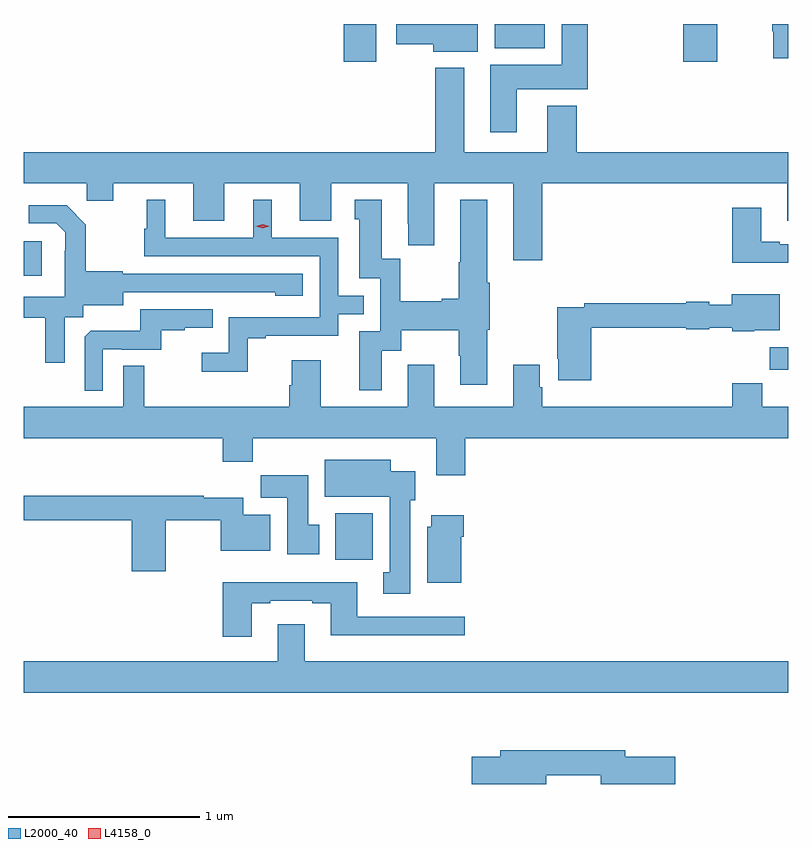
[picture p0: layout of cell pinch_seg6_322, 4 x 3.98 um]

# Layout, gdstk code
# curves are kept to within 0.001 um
import gdstk
lib = gdstk.Library(unit=1e-6, precision=1e-09)
def R(c, l, rs):  # rectangles x0, y0, x1, y1
    for r in rs: c.add(gdstk.rectangle(r[:2], r[2:], *l))
def P(c, l, *ps):  # polygons
    for p in ps: c.add(gdstk.Polygon(p, *l))
L2000_40 = (2000, 40)
L4158_0 = (4158, 0)

pinch_seg6_322 = lib.new_cell('pinch_seg6_322')
R(pinch_seg6_322, L2000_40, [(757.361,994.652,757.558,994.894), (759.634,995.646,759.731,995.764), (755.731,996.138,755.827,996.318), (757.406,997.257,757.576,997.454), (759.182,997.257,759.36,997.454), (758.195,997.328,758.458,997.454)])
P(pinch_seg6_322, L2000_40, [(758.107,997.454),(757.68,997.454),(757.68,997.349),(757.874,997.349),(757.874,997.31),(758.107,997.31)],
  [(759.731,997.454),(759.646,997.454),(759.646,997.416),(759.653,997.416),(759.653,997.274),(759.731,997.274)],
  [(758.311,997.112),(758.681,997.112),(758.681,997.454),(758.546,997.454),(758.546,997.24),(758.171,997.24),(758.171,996.888),(758.311,996.888)],
  [(755.731,996.62),(756.061,996.62),(756.061,996.53),(756.199,996.53),(756.199,996.62),(756.617,996.62),(756.617,996.426),(756.781,996.426),(756.781,996.62),(757.175,996.62),(757.175,996.426),(757.339,996.426),(757.339,996.62),(757.739,996.62),(757.739,996.409),(757.742,996.409),(757.742,996.297),(757.879,996.297),(757.879,996.62),(758.291,996.62),(758.291,996.219),(758.444,996.219),(758.444,996.62),(759.725,996.62),(759.725,996.426),(759.731,996.426),(759.731,996.784),(758.624,996.784),(758.624,997.027),(758.471,997.027),(758.471,996.784),(758.035,996.784),(758.035,997.225),(757.883,997.225),(757.883,996.784),(755.731,996.784)],
  [(757.603,995.746),(757.705,995.746),(757.705,995.852),(758.008,995.852),(758.008,995.718),(758.015,995.718),(758.015,995.568),(758.155,995.568),(758.155,995.856),(758.168,995.856),(758.168,996.1),(758.155,996.1),(758.155,996.535),(758.015,996.535),(758.015,996.209),(758.008,996.209),(758.008,996.017),(757.919,996.017),(757.919,996.004),(757.701,996.004),(757.701,996.227),(757.603,996.227),(757.603,996.535),(757.463,996.535),(757.463,996.432),(757.487,996.432),(757.487,996.123),(757.596,996.123),(757.596,995.847),(757.487,995.847),(757.487,995.538),(757.603,995.538)],
  [(756.903,995.811),(756.997,995.811),(756.997,995.823),(757.377,995.823),(757.377,995.937),(757.511,995.937),(757.511,996.033),(757.377,996.033),(757.377,996.336),(757.03,996.336),(757.03,996.535),(756.932,996.535),(756.932,996.336),(756.472,996.336),(756.472,996.535),(756.374,996.535),(756.374,996.384),(756.363,996.384),(756.363,996.24),(757.281,996.24),(757.281,995.919),(756.804,995.919),(756.804,995.734),(756.663,995.734),(756.663,995.636),(756.903,995.636)],
  [(755.947,995.92),(756.042,995.92),(756.042,995.984),(756.253,995.984),(756.253,996.051),(757.047,996.05),(757.047,996.032),(757.192,996.032),(757.192,996.147),(756.249,996.147),(756.249,996.16),(756.057,996.16),(756.057,996.405),(755.957,996.505),(755.757,996.505),(755.757,996.411),(755.901,996.411),(755.948,996.364),(755.948,996.269),(755.946,996.269),(755.946,996.028),(755.731,996.028),(755.731,995.918),(755.843,995.918),(755.843,995.682),(755.947,995.682)],
  [(759.731,996.303),(759.685,996.303),(759.685,996.316),(759.589,996.316),(759.589,996.493),(759.437,996.493),(759.437,996.206),(759.731,996.206)],
  [(758.699,995.865),(759.198,995.865),(759.198,995.857),(759.318,995.857),(759.318,995.864),(759.438,995.864),(759.438,995.846),(759.552,995.846),(759.552,995.852),(759.685,995.852),(759.685,996.04),(759.434,996.04),(759.434,995.986),(759.318,995.986),(759.318,996.001),(759.198,996.001),(759.198,995.993),(758.662,995.993),(758.662,995.973),(758.521,995.973),(758.521,995.704),(758.528,995.704),(758.528,995.592),(758.699,995.592)],
  [(756.144,995.754),(756.244,995.754),(756.244,995.751),(756.452,995.751),(756.452,995.853),(756.575,995.853),(756.575,995.864),(756.719,995.864),(756.719,995.961),(756.342,995.961),(756.342,995.849),(756.083,995.849),(756.051,995.817),(756.051,995.537),(756.144,995.537)],
  [(758.042,995.288),(759.731,995.288),(759.731,995.452),(759.593,995.452),(759.593,995.576),(759.437,995.576),(759.437,995.452),(758.444,995.452),(758.444,995.553),(758.431,995.553),(758.431,995.671),(758.291,995.671),(758.291,995.452),(757.879,995.452),(757.879,995.671),(757.739,995.671),(757.739,995.452),(757.285,995.452),(757.285,995.695),(757.133,995.695),(757.133,995.565),(757.121,995.565),(757.121,995.452),(756.361,995.452),(756.361,995.666),(756.252,995.666),(756.252,995.452),(755.731,995.452),(755.731,995.288),(756.773,995.288),(756.773,995.164),(756.929,995.164),(756.929,995.288),(757.889,995.288),(757.889,995.094),(758.042,995.094)],
  [(757.753,994.962),(757.78,994.962),(757.78,995.116),(757.651,995.116),(757.651,995.176),(757.307,995.176),(757.307,994.982),(757.646,994.982),(757.646,994.586),(757.613,994.586),(757.613,994.473),(757.753,994.473)],
  [(757.276,994.836),(757.219,994.836),(757.219,995.094),(756.97,995.094),(756.97,994.976),(757.109,994.976),(757.109,994.68),(757.276,994.68)],
  [(756.474,994.858),(756.763,994.858),(756.763,994.7),(757.021,994.7),(757.021,994.888),(756.88,994.888),(756.88,994.976),(756.674,994.976),(756.674,994.987),(755.731,994.987),(755.731,994.858),(756.296,994.858),(756.296,994.593),(756.474,994.593)],
  [(758.02,994.772),(758.033,994.772),(758.033,994.885),(757.862,994.885),(757.862,994.824),(757.841,994.824),(757.841,994.532),(758.02,994.532)],
  [(756.925,994.425),(757.021,994.425),(757.021,994.437),(757.241,994.437),(757.241,994.425),(757.337,994.425),(757.337,994.256),(758.038,994.256),(758.038,994.353),(757.477,994.353),(757.477,994.534),(756.773,994.534),(756.773,994.248),(756.925,994.248)],
  [(759.731,994.12),(757.201,994.12),(757.201,994.315),(757.061,994.315),(757.061,994.12),(755.731,994.12),(755.731,993.956),(759.731,993.956)],
  [(758.464,993.526),(758.75,993.526),(758.75,993.479),(759.139,993.479),(759.139,993.621),(758.878,993.621),(758.878,993.655),(758.225,993.655),(758.225,993.621),(758.076,993.621),(758.076,993.479),(758.464,993.479)])
P(pinch_seg6_322, L4158_0, [(756.981,996.386),(756.946,996.396),(756.945,996.396),(756.946,996.397),(756.981,996.406),(757.016,996.397),(757.017,996.396),(757.016,996.396)])

lib.write_gds('pinch_seg6_322.gds')
